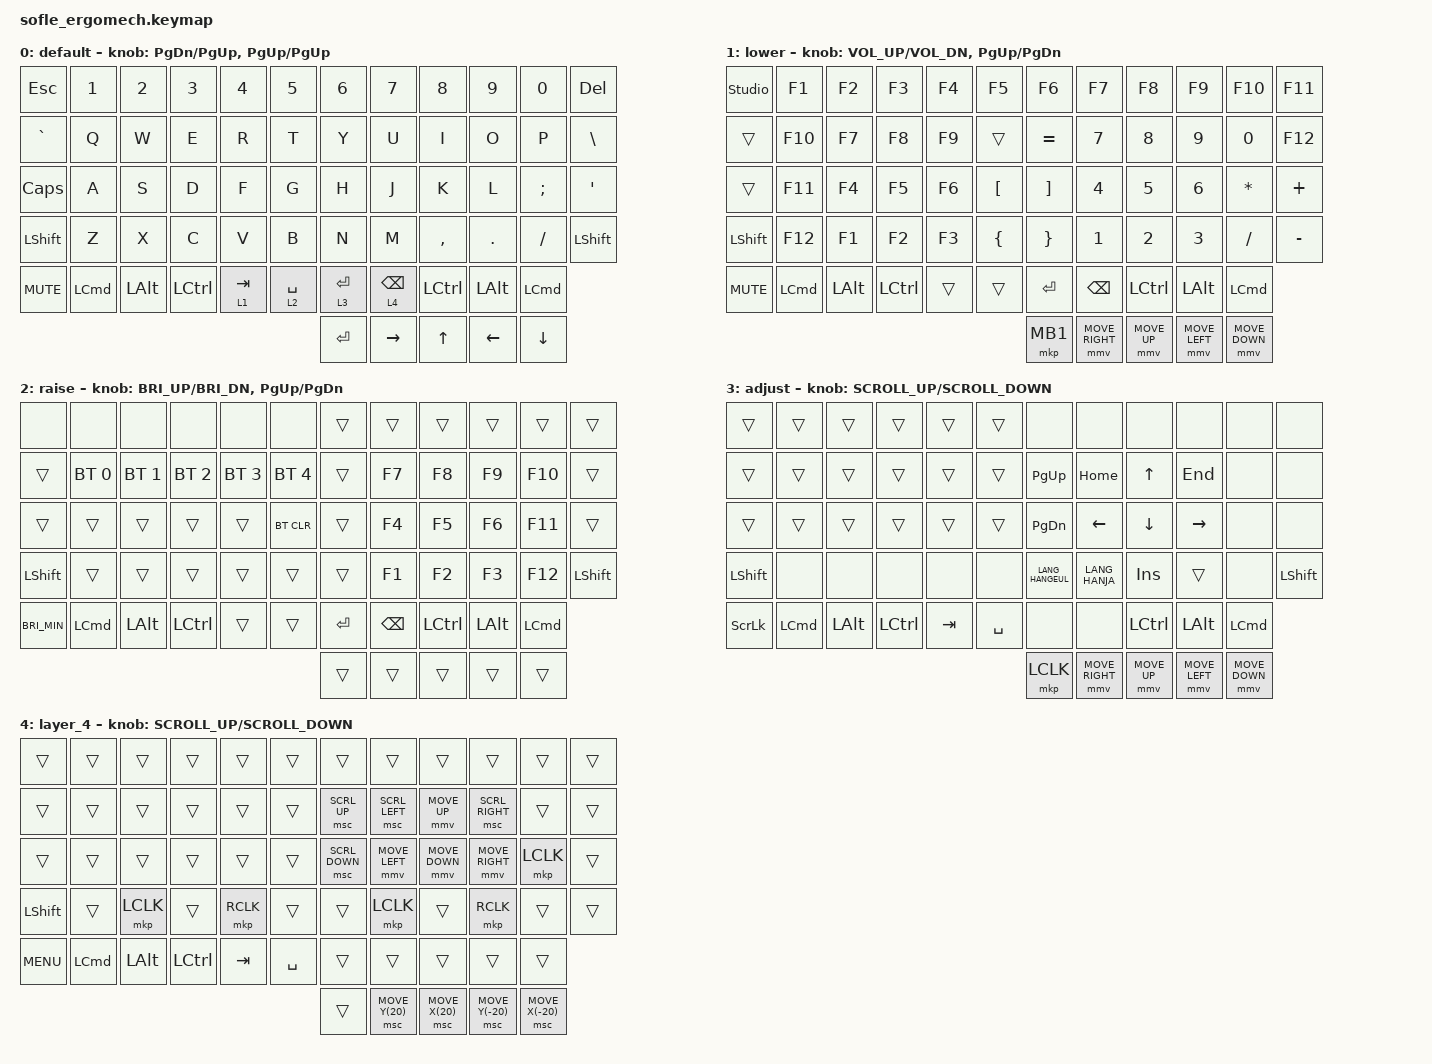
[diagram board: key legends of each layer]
/*
 * Copyright (c) 2020 The ZMK Contributors
 *
 * SPDX-License-Identifier: MIT
 */

#include <behaviors.dtsi>
#include <dt-bindings/zmk/bt.h>
#include <dt-bindings/zmk/keys.h>
#include <dt-bindings/zmk/pointing.h>

#define BASE 0
#define LOWER 1
#define RAISE 2
#define ADJUST 3

&mt {
    flavor = "balanced";
    tapping-term-ms = <150>;
    quick-tap-ms = <100>;
};

/ {
    // Activate ADJUST layer by pressing raise and lower

    conditional_layers { compatible = "zmk,conditional-layers"; };

    keymap {
        compatible = "zmk,keymap";

        default_layer {
            label = "default";

            // ------------------------------------------------------------------------------------------------------------
            // |   `   |  1  |  2  |  3   |  4   |  5   |                   |  6   |  7    |  8    |  9   |   0   |       |
            // |  ESC  |  Q  |  W  |  E   |  R   |  T   |                   |  Y   |  U    |  I    |  O   |   P   | BKSPC |
            // |  TAB  |  A  |  S  |  D   |  F   |  G   |                   |  H   |  J    |  K    |  L   |   ;   |   '   |
            // | SHIFT |  Z  |  X  |  C   |  V   |  B   |  MUTE  |  |       |  N   |  M    |  ,    |  .   |   /   | SHIFT |
            //               | GUI | ALT  | CTRL | LOWER|  ENTER |  | SPACE | RAISE| CTRL  | ALT   | GUI  |

            bindings = <
&kp ESC     &kp N1    &kp N2        &kp N3     &kp N4     &kp N5       &kp N6       &kp N7           &kp N8     &kp N9    &kp N0         &kp DELETE
&kp GRAVE   &kp Q     &kp W         &kp E      &kp R      &kp T        &kp Y        &kp U            &kp I      &kp O     &kp P          &kp BSLH
&kp CAPS    &kp A     &kp S         &kp D      &kp F      &kp G        &kp H        &kp J            &kp K      &kp L     &kp SEMICOLON  &kp SQT
&kp LSHFT   &kp Z     &kp X         &kp C      &kp V      &kp B        &kp N        &kp M            &kp COMMA  &kp DOT   &kp FSLH       &kp LSHFT
&kp C_MUTE  &kp LCMD  &kp LEFT_ALT  &kp LCTRL  &lt 1 TAB  &lt 2 SPACE  &lt 3 ENTER  &lt 4 BACKSPACE  &kp LCTRL  &kp LALT  &kp LCMD
                                                                       &kp ENTER    &kp RIGHT        &kp UP     &kp LEFT  &kp DOWN
            >;

            sensor-bindings =
                <&inc_dec_kp PAGE_DOWN PG_UP>,
                <&inc_dec_kp PG_UP PG_UP>;
        };

        lower_layer {
            label = "lower";

            // TODO: Some binds are waiting for shifted keycode support.
            // ------------------------------------------------------------------------------------------------------------
            // |       |  F1 |  F2 |  F3  |  F4  |  F5  |                   |  F6  |  F7   |  F8   |  F9  |  F10  |  F11  |
            // |   `   |  1  |  2  |  3   |  4   |  5   |                   |  6   |  7    |  8    |  9   |   0   |  F12  |
            // |       |  !  |  @  |  #   |  $   |  %   |                   |  ^   |  &    |  *    |  (   |   )   |   |   |
            // |       |  =  |  -  |  +   |  {   |  }   |        |  |       |  [   |  ]    |  ;    |  :   |   \   |       |
            //               |     |      |      |      |        |  |       |      |       |       |      |

            bindings = <
&studio_unlock  &kp F1    &kp F2        &kp F3     &kp F4  &kp F5    &kp F6     &kp F7           &kp F8        &kp F9          &kp F10         &kp F11
&trans          &kp F10   &kp F7        &kp F8     &kp F9  &trans    &kp EQUAL  &kp N7           &kp N8        &kp N9          &kp N0          &kp F12
&trans          &kp F11   &kp F4        &kp F5     &kp F6  &kp LBKT  &kp RBKT   &kp N4           &kp N5        &kp N6          &kp STAR        &kp PLUS
&kp LSHFT       &kp F12   &kp F1        &kp F2     &kp F3  &kp LBRC  &kp RBRC   &kp N1           &kp N2        &kp N3          &kp SLASH       &kp MINUS
&kp C_MUTE      &kp LCMD  &kp LEFT_ALT  &kp LCTRL  &trans  &trans    &kp ENTER  &kp BACKSPACE    &kp LCTRL     &kp LEFT_ALT    &kp LCMD
                                                                     &mkp MB1   &mmv MOVE_RIGHT  &mmv MOVE_UP  &mmv MOVE_LEFT  &mmv MOVE_DOWN
            >;

            sensor-bindings = <&inc_dec_kp C_VOL_UP C_VOL_DN &inc_dec_kp PG_UP PG_DN>;
        };

        raise_layer {
            label = "raise";

            // ------------------------------------------------------------------------------------------------------------
            // | BTCLR | BT1  | BT2  |  BT3  |  BT4  |  BT5 |                |      |      |       |      |       |       |
            // |       | INS  | PSCR | GUI   |       |      |                | PGUP |      |   ^   |      |       |       |
            // |       | ALT  | CTRL | SHIFT |       | CAPS |                | PGDN |   <- |   v   |  ->  |  DEL  | BKSPC |
            // |       | UNDO | CUT  | COPY  | PASTE |      |      |  |      |      |      |       |      |       |       |
            //                |      |       |       |      |      |  |      |      |      |       |      |

            bindings = <
&none          &none         &none         &none         &none         &none         &trans     &trans         &trans     &trans        &trans    &trans
&trans         &bt BT_SEL 0  &bt BT_SEL 1  &bt BT_SEL 2  &bt BT_SEL 3  &bt BT_SEL 4  &trans     &kp F7         &kp F8     &kp F9        &kp F10   &trans
&trans         &trans        &trans        &trans        &trans        &bt BT_CLR    &trans     &kp F4         &kp F5     &kp F6        &kp F11   &trans
&kp LSHFT      &trans        &trans        &trans        &trans        &trans        &trans     &kp F1         &kp F2     &kp F3        &kp F12   &kp LSHFT
&kp C_BRI_MIN  &kp LCMD      &kp LEFT_ALT  &kp LCTRL     &trans        &trans        &kp ENTER  &kp BACKSPACE  &kp LCTRL  &kp LEFT_ALT  &kp LCMD
                                                                                     &trans     &trans         &trans     &trans        &trans
            >;

            sensor-bindings =
                <&inc_dec_kp C_BRI_UP C_BRI_DN>,
                <&inc_dec_kp PG_UP PG_DN>;
        };

        adjust_layer {
            // ----------------------------------------------------------------------------------------------------------------------------
            // | BTCLR  |  BT1    |  BT2    |   BT3   |   BT4   |   BT5   |                  |      |      |       |      |       |       |
            // | EXTPWR | RGB_HUD | RGB_HUI | RGB_SAD | RGB_SAI | RGB_EFF |                  |      |      |       |      |       |       |
            // |        | RGB_BRD | RGB_BRI |         |         |         |                  |      |      |       |      |       |       |
            // |        |         |         |         |         |         | RGB_TOG | |      |      |      |       |      |       |       |
            //                    |         |         |         |         |         | |      |      |      |       |      |

            label = "adjust";
            bindings = <
&trans          &trans    &trans        &trans     &trans   &trans     &none             &none            &none         &none           &none           &none
&trans          &trans    &trans        &trans     &trans   &trans     &kp PG_UP         &kp HOME         &kp UP        &kp END         &none           &none
&trans          &trans    &trans        &trans     &trans   &trans     &kp PAGE_DOWN     &kp LEFT         &kp DOWN      &kp RIGHT       &none           &none
&kp LSHIFT      &none     &none         &none      &none    &none      &kp LANG_HANGEUL  &kp LANG_HANJA   &kp INS       &trans          &none           &kp LSHFT
&kp SCROLLLOCK  &kp LCMD  &kp LEFT_ALT  &kp LCTRL  &kp TAB  &kp SPACE  &none             &none            &kp LCTRL     &kp LEFT_ALT    &kp LCMD
                                                                       &mkp LCLK         &mmv MOVE_RIGHT  &mmv MOVE_UP  &mmv MOVE_LEFT  &mmv MOVE_DOWN
            >;

            sensor-bindings = <&inc_dec_kp K_SCROLL_UP K_SCROLL_DOWN>;
        };

        layer_4 {
            bindings = <
&trans      &trans    &trans        &trans     &trans     &trans     &trans          &trans           &trans           &trans            &trans            &trans
&trans      &trans    &trans        &trans     &trans     &trans     &msc SCRL_UP    &msc SCRL_LEFT   &mmv MOVE_UP     &msc SCRL_RIGHT   &trans            &trans
&trans      &trans    &trans        &trans     &trans     &trans     &msc SCRL_DOWN  &mmv MOVE_LEFT   &mmv MOVE_DOWN   &mmv MOVE_RIGHT   &mkp LCLK         &trans
&kp LSHFT   &trans    &mkp LCLK     &trans     &mkp RCLK  &trans     &trans          &mkp LCLK        &trans           &mkp RCLK         &trans            &trans
&kp K_MENU  &kp LCMD  &kp LEFT_ALT  &kp LCTRL  &kp TAB    &kp SPACE  &trans          &trans           &trans           &trans            &trans
                                                                     &trans          &msc MOVE_Y(20)  &msc MOVE_X(20)  &msc MOVE_Y(-20)  &msc MOVE_X(-20)
            >;

            sensor-bindings = <&inc_dec_kp K_SCROLL_UP K_SCROLL_DOWN>;
        };
    };
};
